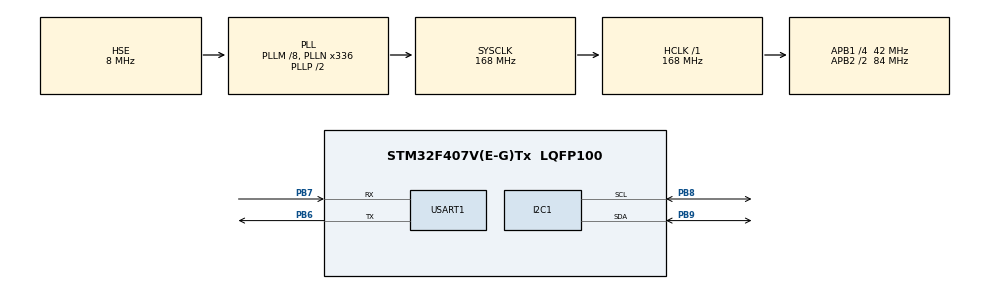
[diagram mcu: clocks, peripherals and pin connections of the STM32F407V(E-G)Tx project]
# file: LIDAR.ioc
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I2C1.I2C_Mode=I2C_Standard
Mcu.Family=STM32F4
Mcu.Name=STM32F407V(E-G)Tx
Mcu.Package=LQFP100
NVIC.PriorityGroup=NVIC_PRIORITYGROUP_0
PB6.Mode=Asynchronous
PB6.Signal=USART1_TX
PB7.Mode=Asynchronous
PB7.Signal=USART1_RX
PB8.Mode=I2C
PB8.Signal=I2C1_SCL
PB9.Mode=I2C
PB9.Signal=I2C1_SDA
PH0-OSC_IN.Mode=HSE-External-Oscillator
PH0-OSC_IN.Signal=RCC_OSC_IN
PH1-OSC_OUT.Mode=HSE-External-Oscillator
PH1-OSC_OUT.Signal=RCC_OSC_OUT
ProjectManager.HeapSize=0x200
ProjectManager.StackSize=0x400
ProjectManager.TargetToolchain=EWARM V8.32
RCC.48MHZClocksFreq_Value=48000000
RCC.AHBFreq_Value=168000000
RCC.APB1CLKDivider=RCC_HCLK_DIV4
RCC.APB1Freq_Value=42000000
RCC.APB1TimFreq_Value=84000000
RCC.APB2CLKDivider=RCC_HCLK_DIV2
RCC.APB2Freq_Value=84000000
RCC.APB2TimFreq_Value=168000000
RCC.CortexFreq_Value=168000000
RCC.HCLKFreq_Value=168000000
RCC.HSE_VALUE=8000000
RCC.HSI_VALUE=16000000
RCC.LSE_VALUE=32768
RCC.PLLM=8
RCC.PLLN=336
RCC.PLLQ=7
RCC.PLLSourceVirtual=RCC_PLLSOURCE_HSE
RCC.SYSCLKFreq_VALUE=168000000
RCC.SYSCLKSource=RCC_SYSCLKSOURCE_PLLCLK
RCC.VCOOutputFreq_Value=336000000
USART1.VirtualMode=VM_ASYNC
board=STM32F407G-DISC1

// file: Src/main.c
/* USER CODE BEGIN Header */
/**
  ******************************************************************************
  * @file           : main.c
  * @brief          : Main program body
  ******************************************************************************
  * @attention
  *
  * <h2><center>&copy; Copyright (c) 2020 STMicroelectronics.
  * All rights reserved.</center></h2>
  *
  * This software component is licensed by ST under BSD 3-Clause license,
  * the "License"; You may not use this file except in compliance with the
  * License. You may obtain a copy of the License at:
  *                        opensource.org/licenses/BSD-3-Clause
  *
  ******************************************************************************
  */
/* USER CODE END Header */

#include "main.h"

/* USER CODE BEGIN Includes */
#include <stdio.h>
#include <string.h>
#include <VL53L0X.h>

/* USER CODE END Includes */

I2C_HandleTypeDef hi2c1;

UART_HandleTypeDef huart1;

/* USER CODE BEGIN PV */
char msg[32];
uint16_t dist;
uint8_t myoffset=10;
float myscale=0.99;//Experimental

VL53L0X sensor1;//Struct in "VL53L0X.h"

/* USER CODE END PV */

void SystemClock_Config(void);
static void MX_GPIO_Init(void);
static void MX_USART1_UART_Init(void);
static void MX_I2C1_Init(void);
/* USER CODE BEGIN PFP */
void InitVL53(void)
{
  setAddress(&sensor1,0x29);//Default

//  HAL_GPIO_WritePin(GPIOB,GPIO_PIN_3,GPIO_PIN_RESET); //De-select VL53L0X
//  HAL_Delay(100);
//  HAL_GPIO_WritePin(GPIOB,GPIO_PIN_3,GPIO_PIN_SET); //Select VL53L0X
  HAL_Delay(200);//Wait sensor startup
  if(!init(&sensor1,true)) //Returns 0 if fail, 1 if success.
    {
	snprintf(msg,sizeof(msg),"Failed to initialize\r\n");
	HAL_UART_Transmit(&huart1, (uint8_t*)msg, strlen(msg), 0xFFFF);
    }
  setVcselPulsePeriod (& sensor1, VcselPeriodPreRange, 16);
  //setVcselPulsePeriod (& sensor1, VcselPeriodFinalRange, 10);
  setTimeout(&sensor1,500); //Max time before timeout.
  setAddress(&sensor1,0x4); //New addr
}
/* USER CODE END PFP */

int main(void)
{

  /* MCU Configuration--------------------------------------------------------*/

  /* Reset of all peripherals, Initializes the Flash interface and the Systick. */
  HAL_Init();

  /* Configure the system clock */
  SystemClock_Config();

  /* Initialize all configured peripherals */
  MX_GPIO_Init();
  MX_USART1_UART_Init();
  MX_I2C1_Init();
  /* USER CODE BEGIN 2 */
InitVL53();
startContinuous(&sensor1,0); //Second parameter: x ms wait
sprintf(msg,"Identificator 0x%X \n",getWhoAmI(&sensor1)); //check sensor
HAL_UART_Transmit(&huart1, (uint8_t*)msg, strlen(msg), 100);
  /* USER CODE END 2 */

  /* Infinite loop */
  /* USER CODE BEGIN WHILE */
  while (1)
  {
    dist=(int16_t)(readRangeContinuousMillimeters(&sensor1)*myscale)-myoffset;
    sprintf(msg,"Read value: %u\n",dist);
    HAL_UART_Transmit(&huart1, (uint8_t*)msg, strlen(msg), 100);
    HAL_Delay(500);

    /* USER CODE END WHILE */

  }
}

void SystemClock_Config(void)
{
  RCC_OscInitTypeDef RCC_OscInitStruct = {0};
  RCC_ClkInitTypeDef RCC_ClkInitStruct = {0};

  /** Configure the main internal regulator output voltage
  */
  __HAL_RCC_PWR_CLK_ENABLE();
  __HAL_PWR_VOLTAGESCALING_CONFIG(PWR_REGULATOR_VOLTAGE_SCALE1);
  /** Initializes the CPU, AHB and APB busses clocks
  */
  RCC_OscInitStruct.OscillatorType = RCC_OSCILLATORTYPE_HSE;
  RCC_OscInitStruct.HSEState = RCC_HSE_ON;
  RCC_OscInitStruct.PLL.PLLState = RCC_PLL_ON;
  RCC_OscInitStruct.PLL.PLLSource = RCC_PLLSOURCE_HSE;
  RCC_OscInitStruct.PLL.PLLM = 8;
  RCC_OscInitStruct.PLL.PLLN = 336;
  RCC_OscInitStruct.PLL.PLLP = RCC_PLLP_DIV2;
  RCC_OscInitStruct.PLL.PLLQ = 7;
  if (HAL_RCC_OscConfig(&RCC_OscInitStruct) != HAL_OK)
  {
    Error_Handler();
  }
  /** Initializes the CPU, AHB and APB busses clocks
  */
  RCC_ClkInitStruct.ClockType = RCC_CLOCKTYPE_HCLK|RCC_CLOCKTYPE_SYSCLK
                              |RCC_CLOCKTYPE_PCLK1|RCC_CLOCKTYPE_PCLK2;
  RCC_ClkInitStruct.SYSCLKSource = RCC_SYSCLKSOURCE_PLLCLK;
  RCC_ClkInitStruct.AHBCLKDivider = RCC_SYSCLK_DIV1;
  RCC_ClkInitStruct.APB1CLKDivider = RCC_HCLK_DIV4;
  RCC_ClkInitStruct.APB2CLKDivider = RCC_HCLK_DIV2;

  if (HAL_RCC_ClockConfig(&RCC_ClkInitStruct, FLASH_LATENCY_5) != HAL_OK)
  {
    Error_Handler();
  }
}

static void MX_I2C1_Init(void)
{

  hi2c1.Instance = I2C1;
  hi2c1.Init.ClockSpeed = 100000;
  hi2c1.Init.DutyCycle = I2C_DUTYCYCLE_2;
  hi2c1.Init.OwnAddress1 = 0;
  hi2c1.Init.AddressingMode = I2C_ADDRESSINGMODE_7BIT;
  hi2c1.Init.DualAddressMode = I2C_DUALADDRESS_DISABLE;
  hi2c1.Init.OwnAddress2 = 0;
  hi2c1.Init.GeneralCallMode = I2C_GENERALCALL_DISABLE;
  hi2c1.Init.NoStretchMode = I2C_NOSTRETCH_DISABLE;
  if (HAL_I2C_Init(&hi2c1) != HAL_OK)
  {
    Error_Handler();
  }

}

static void MX_USART1_UART_Init(void)
{

  huart1.Instance = USART1;
  huart1.Init.BaudRate = 115200;
  huart1.Init.WordLength = UART_WORDLENGTH_8B;
  huart1.Init.StopBits = UART_STOPBITS_1;
  huart1.Init.Parity = UART_PARITY_NONE;
  huart1.Init.Mode = UART_MODE_TX_RX;
  huart1.Init.HwFlowCtl = UART_HWCONTROL_NONE;
  huart1.Init.OverSampling = UART_OVERSAMPLING_16;
  if (HAL_UART_Init(&huart1) != HAL_OK)
  {
    Error_Handler();
  }

}

static void MX_GPIO_Init(void)
{

  /* GPIO Ports Clock Enable */
  __HAL_RCC_GPIOH_CLK_ENABLE();
  __HAL_RCC_GPIOB_CLK_ENABLE();

}

void Error_Handler(void)
{
}

/************************ (C) COPYRIGHT STMicroelectronics *****END OF FILE****/
